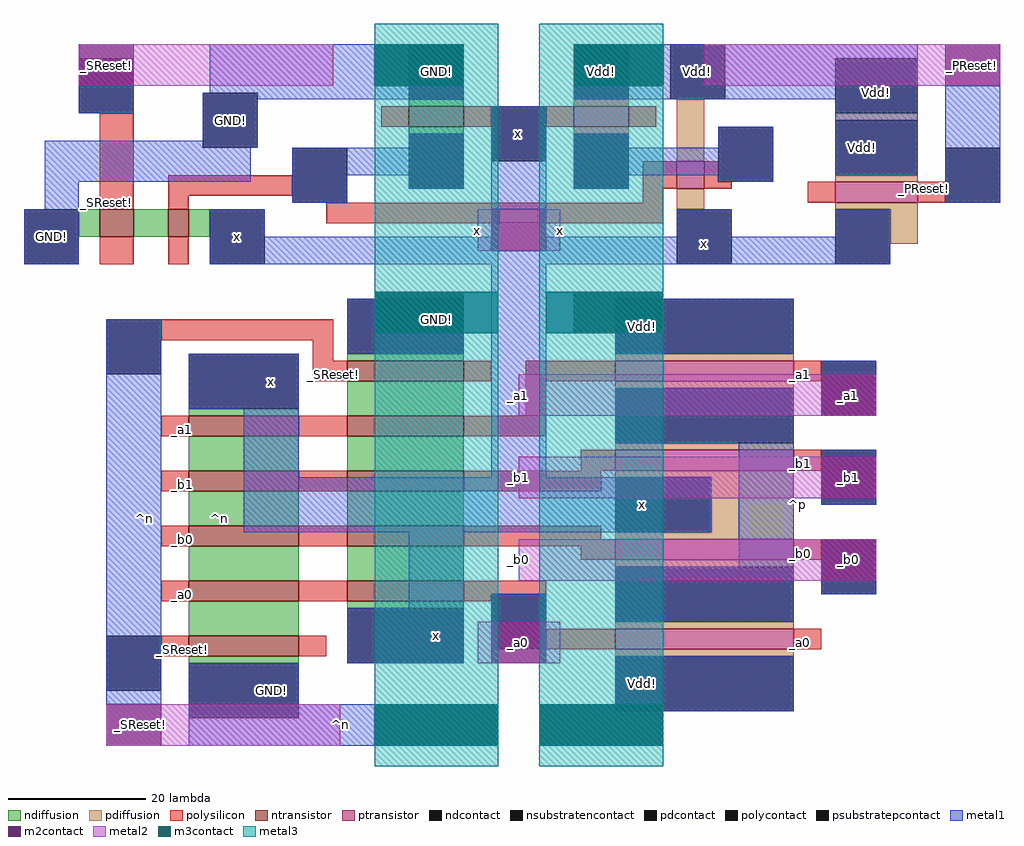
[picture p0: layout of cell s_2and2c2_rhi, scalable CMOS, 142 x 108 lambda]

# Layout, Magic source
magic
tech scmos
<< ndiffusion >>
rect -16 118 -8 119
rect -16 114 -8 115
rect -64 99 -61 103
rect -56 99 -51 103
rect -48 99 -45 103
rect -25 81 -8 82
rect -48 73 -32 74
rect -25 73 -8 78
rect -48 65 -32 70
rect -25 65 -8 70
rect -48 57 -32 62
rect -25 57 -8 62
rect -48 49 -32 54
rect -25 49 -8 54
rect -48 41 -32 46
rect -25 45 -8 46
rect -48 37 -32 38
<< pdiffusion >>
rect 8 118 16 119
rect 8 114 16 115
rect 23 110 27 119
rect 46 116 58 117
rect 46 107 58 108
rect 23 103 27 106
rect 46 103 58 104
rect 54 98 58 103
rect 14 81 40 82
rect 14 77 40 78
rect 14 68 40 69
rect 14 64 40 65
rect 28 56 40 64
rect 14 55 40 56
rect 14 51 40 52
rect 14 42 40 43
rect 14 38 40 39
<< ntransistor >>
rect -16 115 -8 118
rect -61 99 -56 103
rect -51 99 -48 103
rect -25 78 -8 81
rect -48 70 -32 73
rect -25 70 -8 73
rect -48 62 -32 65
rect -25 62 -8 65
rect -48 54 -32 57
rect -25 54 -8 57
rect -48 46 -32 49
rect -25 46 -8 49
rect -48 38 -32 41
<< ptransistor >>
rect 8 115 16 118
rect 23 106 27 110
rect 46 104 58 107
rect 14 78 40 81
rect 14 65 40 68
rect 14 52 40 55
rect 14 39 40 42
<< polysilicon >>
rect -61 103 -56 117
rect -20 115 -16 118
rect -8 115 -4 118
rect -51 105 -33 108
rect -51 103 -48 105
rect 4 115 8 118
rect 16 115 20 118
rect 18 106 23 110
rect 27 107 29 110
rect 27 106 31 107
rect 18 104 21 106
rect -61 95 -56 99
rect -51 95 -48 99
rect -28 101 21 104
rect 42 104 46 107
rect 58 104 62 107
rect -52 84 -27 87
rect -30 81 -27 84
rect -30 78 -25 81
rect -8 78 -4 81
rect 1 78 14 81
rect 40 78 44 81
rect 1 73 4 78
rect -52 70 -48 73
rect -32 70 -25 73
rect -8 70 4 73
rect 9 65 14 68
rect 40 65 44 68
rect -52 62 -48 65
rect -32 62 -25 65
rect -8 62 12 65
rect -52 54 -48 57
rect -32 54 -25 57
rect -8 55 12 57
rect -8 54 14 55
rect 9 52 14 54
rect 40 52 44 55
rect -52 46 -48 49
rect -32 46 -25 49
rect -8 47 4 49
rect -8 46 -4 47
rect -52 38 -48 41
rect -32 38 -28 41
rect 4 39 14 42
rect 40 39 44 42
<< ndcontact >>
rect -16 119 -8 127
rect -16 106 -8 114
rect -72 95 -64 103
rect -45 95 -37 103
rect -48 74 -32 82
rect -25 82 -8 90
rect -25 37 -8 45
rect -48 29 -32 37
<< pdcontact >>
rect 8 119 16 127
rect 22 119 30 127
rect 8 106 16 114
rect 46 108 58 116
rect 23 95 31 103
rect 46 95 54 103
rect 14 82 40 90
rect 14 69 40 77
rect 14 56 28 64
rect 14 43 40 51
rect 14 30 40 38
<< psubstratepcontact >>
rect -46 112 -38 120
<< nsubstratencontact >>
rect 46 117 58 125
<< polycontact >>
rect -64 117 -56 125
rect -33 104 -25 112
rect -4 110 4 118
rect 29 107 37 115
rect 62 104 70 112
rect -60 79 -52 87
rect 44 73 52 81
rect 44 60 52 68
rect -60 33 -52 41
rect -4 39 4 47
rect 44 47 52 55
<< metal1 >>
rect -64 117 -56 121
rect -45 121 -21 127
rect -45 120 -8 121
rect -46 119 -8 120
rect 21 121 58 127
rect 8 119 58 121
rect -46 113 -38 119
rect -69 112 -38 113
rect -16 112 -8 114
rect -69 107 -39 112
rect -33 108 -8 112
rect -69 103 -64 107
rect -33 104 -25 108
rect -16 106 -8 108
rect -4 103 4 118
rect 8 112 16 114
rect 29 112 37 115
rect 8 108 37 112
rect 46 108 58 119
rect 8 106 16 108
rect 29 107 37 108
rect 62 104 70 121
rect -72 95 -64 103
rect -45 99 -37 103
rect -45 97 -4 99
rect 23 99 31 103
rect 46 99 54 103
rect 4 97 54 99
rect -45 95 54 97
rect -60 31 -52 87
rect -25 85 -21 90
rect -25 82 -8 85
rect -48 74 -32 82
rect -40 64 -32 74
rect -4 64 4 95
rect 21 85 40 90
rect 14 82 40 85
rect 44 79 52 81
rect 14 69 40 77
rect -40 56 28 64
rect -16 45 -8 56
rect 32 51 40 69
rect 44 67 52 68
rect 44 60 52 61
rect -25 37 -8 45
rect -4 43 4 47
rect 14 43 40 51
rect 44 47 52 49
rect -48 31 -32 37
rect 14 31 40 38
rect -48 25 -21 31
rect 21 30 40 31
<< m2contact >>
rect -64 121 -56 127
rect -21 121 -8 127
rect 8 121 21 127
rect 62 121 70 127
rect -4 97 4 103
rect -21 85 -8 91
rect 8 85 21 91
rect 44 73 52 79
rect 44 61 52 67
rect 44 49 52 55
rect -4 37 4 43
rect -60 25 -52 31
rect -21 25 -3 31
rect 3 25 21 31
<< metal2 >>
rect -64 121 -27 127
rect 27 121 70 127
rect -6 97 6 103
rect 0 73 52 79
rect 0 61 52 67
rect 0 49 52 55
rect -6 37 6 43
rect -60 25 -26 31
<< m3contact >>
rect -21 121 -8 127
rect 8 121 21 127
rect -21 85 -3 91
rect 4 85 21 91
rect -21 25 -3 31
rect 3 25 21 31
<< metal3 >>
rect -21 22 -3 130
rect 3 22 21 130
<< labels >>
rlabel metal1 -68 99 -68 99 3 GND!
rlabel polysilicon -60 104 -60 104 3 _SReset!
rlabel metal1 27 98 27 98 5 x
rlabel metal1 -41 99 -41 99 3 x
rlabel metal2 -60 124 -60 124 5 _SReset!
rlabel ndcontact -12 123 -12 123 5 GND!
rlabel pdcontact 12 123 12 123 5 Vdd!
rlabel metal2 -6 97 -6 103 3 x
rlabel metal2 6 97 6 103 7 x
rlabel metal1 0 114 0 114 1 x
rlabel metal1 18 60 18 60 1 x
rlabel m2contact 18 86 18 86 5 Vdd!
rlabel metal1 18 34 18 34 1 Vdd!
rlabel metal1 -12 41 -12 41 1 x
rlabel polysilicon 41 40 41 40 3 _a0
rlabel polysilicon 41 53 41 53 3 _b0
rlabel polysilicon 41 66 41 66 3 _b1
rlabel polysilicon 41 79 41 79 3 _a1
rlabel metal1 -36 78 -36 78 5 x
rlabel metal1 -36 33 -36 33 1 GND!
rlabel polysilicon -49 39 -49 39 3 _SReset!
rlabel polysilicon -49 47 -49 47 3 _a0
rlabel polysilicon -49 71 -49 71 3 _a1
rlabel polysilicon -49 55 -49 55 3 _b0
rlabel polysilicon -49 63 -49 63 3 _b1
rlabel m2contact -12 87 -12 87 5 GND!
rlabel polysilicon -27 79 -27 79 1 _SReset!
rlabel metal2 -55 28 -55 28 1 _SReset!
rlabel metal2 0 37 0 43 1 _a0
rlabel metal2 0 49 0 55 3 _b0
rlabel metal2 0 73 0 79 3 _a1
rlabel space -61 25 -48 91 7 ^n
rlabel space -62 24 -25 92 7 ^n
rlabel space 28 29 53 91 3 ^p
rlabel metal2 0 61 0 67 3 _b1
rlabel metal2 -26 25 -26 31 3 ^n
rlabel metal1 26 123 26 123 5 Vdd!
rlabel metal1 -42 116 -42 116 1 GND!
rlabel metal1 50 112 50 112 6 Vdd!
rlabel polysilicon 59 106 59 106 7 _PReset!
rlabel metal2 66 124 66 124 5 _PReset!
rlabel metal1 52 120 52 120 1 Vdd!
rlabel metal2 48 76 48 76 1 _a1
rlabel metal2 48 64 48 64 1 _b1
rlabel metal2 48 52 48 52 1 _b0
<< end >>
